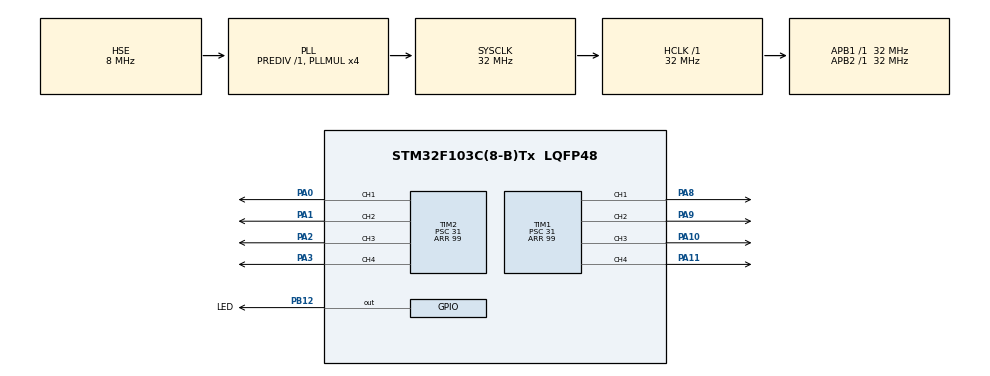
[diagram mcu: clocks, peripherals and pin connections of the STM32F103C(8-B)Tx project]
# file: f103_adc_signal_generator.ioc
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Mcu.Family=STM32F1
Mcu.Name=STM32F103C(8-B)Tx
Mcu.Package=LQFP48
NVIC.PriorityGroup=NVIC_PRIORITYGROUP_4
PA0-WKUP.Signal=S_TIM2_CH1_ETR
PA1.Signal=S_TIM2_CH2
PA10.Signal=S_TIM1_CH3
PA11.Signal=S_TIM1_CH4
PA13.Mode=Serial_Wire
PA13.Signal=SYS_JTMS-SWDIO
PA14.Mode=Serial_Wire
PA14.Signal=SYS_JTCK-SWCLK
PA2.Signal=S_TIM2_CH3
PA3.Signal=S_TIM2_CH4
PA8.Signal=S_TIM1_CH1
PA9.Signal=S_TIM1_CH2
PB12.GPIO_Label=LED
PB12.Signal=GPIO_Output
PC14-OSC32_IN.Mode=LSE-External-Oscillator
PC14-OSC32_IN.Signal=RCC_OSC32_IN
PC15-OSC32_OUT.Mode=LSE-External-Oscillator
PC15-OSC32_OUT.Signal=RCC_OSC32_OUT
PD0-OSC_IN.Mode=HSE-External-Oscillator
PD0-OSC_IN.Signal=RCC_OSC_IN
PD1-OSC_OUT.Mode=HSE-External-Oscillator
PD1-OSC_OUT.Signal=RCC_OSC_OUT
ProjectManager.HeapSize=0x200
ProjectManager.StackSize=0x400
ProjectManager.TargetToolchain=STM32CubeIDE
RCC.AHBFreq_Value=32000000
RCC.APB1Freq_Value=32000000
RCC.APB1TimFreq_Value=32000000
RCC.APB2Freq_Value=32000000
RCC.APB2TimFreq_Value=32000000
RCC.HCLKFreq_Value=32000000
RCC.PLLMUL=RCC_PLL_MUL4
RCC.PLLSourceVirtual=RCC_PLLSOURCE_HSE
RCC.SYSCLKFreq_VALUE=32000000
RCC.SYSCLKSource=RCC_SYSCLKSOURCE_PLLCLK
RCC.USBFreq_Value=32000000
SH.S_TIM1_CH1.0=TIM1_CH1,PWM Generation1 CH1
SH.S_TIM1_CH2.0=TIM1_CH2,PWM Generation2 CH2
SH.S_TIM1_CH3.0=TIM1_CH3,PWM Generation3 CH3
SH.S_TIM1_CH4.0=TIM1_CH4,PWM Generation4 CH4
SH.S_TIM2_CH1_ETR.0=TIM2_CH1,PWM Generation1 CH1
SH.S_TIM2_CH2.0=TIM2_CH2,PWM Generation2 CH2
SH.S_TIM2_CH3.0=TIM2_CH3,PWM Generation3 CH3
SH.S_TIM2_CH4.0=TIM2_CH4,PWM Generation4 CH4
TIM1.AutoReloadPreload=TIM_AUTORELOAD_PRELOAD_ENABLE
TIM1.Channel-PWM\ Generation1\ CH1=TIM_CHANNEL_1
TIM1.Channel-PWM\ Generation2\ CH2=TIM_CHANNEL_2
TIM1.Channel-PWM\ Generation3\ CH3=TIM_CHANNEL_3
TIM1.Channel-PWM\ Generation4\ CH4=TIM_CHANNEL_4
TIM1.Period=99
TIM1.Prescaler=31
TIM2.AutoReloadPreload=TIM_AUTORELOAD_PRELOAD_ENABLE
TIM2.Channel-PWM\ Generation1\ CH1=TIM_CHANNEL_1
TIM2.Channel-PWM\ Generation2\ CH2=TIM_CHANNEL_2
TIM2.Channel-PWM\ Generation3\ CH3=TIM_CHANNEL_3
TIM2.Channel-PWM\ Generation4\ CH4=TIM_CHANNEL_4
TIM2.Period=99
TIM2.Prescaler=31
VP_TIM1_VS_ClockSourceINT.Mode=Internal
VP_TIM2_VS_ClockSourceINT.Mode=Internal
board=custom

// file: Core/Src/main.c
/* USER CODE BEGIN Header */
/**
  ******************************************************************************
  * @file           : main.c
  * @brief          : Main program body
  ******************************************************************************
  * @attention
  *
  * Copyright (c) 2023 STMicroelectronics.
  * All rights reserved.
  *
  * This software is licensed under terms that can be found in the LICENSE file
  * in the root directory of this software component.
  * If no LICENSE file comes with this software, it is provided AS-IS.
  *
  ******************************************************************************
  */
/* USER CODE END Header */
#include "main.h"

TIM_HandleTypeDef htim1;
TIM_HandleTypeDef htim2;

void SystemClock_Config(void);
static void MX_GPIO_Init(void);
static void MX_TIM1_Init(void);
static void MX_TIM2_Init(void);

int main(void)
{

  /* MCU Configuration--------------------------------------------------------*/

  /* Reset of all peripherals, Initializes the Flash interface and the Systick. */
  HAL_Init();

  /* Configure the system clock */
  SystemClock_Config();

  /* Initialize all configured peripherals */
  MX_GPIO_Init();
  MX_TIM1_Init();
  MX_TIM2_Init();
  /* USER CODE BEGIN 2 */

  TIM1->CCR1=1;
  TIM1->CCR2=12;
  TIM1->CCR3=25;
  TIM1->CCR4=37;

  TIM2->CCR1=50;
	TIM2->CCR2=62;
	TIM2->CCR3=75;
	TIM2->CCR4=87;

  HAL_TIM_PWM_Start(&htim1, TIM_CHANNEL_1);
  HAL_TIM_PWM_Start(&htim1, TIM_CHANNEL_2);
  HAL_TIM_PWM_Start(&htim1, TIM_CHANNEL_3);
  HAL_TIM_PWM_Start(&htim1, TIM_CHANNEL_4);

  HAL_TIM_PWM_Start(&htim2, TIM_CHANNEL_1);
    HAL_TIM_PWM_Start(&htim2, TIM_CHANNEL_2);
    HAL_TIM_PWM_Start(&htim2, TIM_CHANNEL_3);
    HAL_TIM_PWM_Start(&htim2, TIM_CHANNEL_4);

  /* USER CODE END 2 */

  /* Infinite loop */
  /* USER CODE BEGIN WHILE */
  while (1)
  {
	  HAL_GPIO_TogglePin(LED_GPIO_Port, LED_Pin);
	  HAL_Delay(500);
    /* USER CODE END WHILE */

  }
}

void SystemClock_Config(void)
{
  RCC_OscInitTypeDef RCC_OscInitStruct = {0};
  RCC_ClkInitTypeDef RCC_ClkInitStruct = {0};

  /** Initializes the RCC Oscillators according to the specified parameters
  * in the RCC_OscInitTypeDef structure.
  */
  RCC_OscInitStruct.OscillatorType = RCC_OSCILLATORTYPE_HSE;
  RCC_OscInitStruct.HSEState = RCC_HSE_ON;
  RCC_OscInitStruct.HSEPredivValue = RCC_HSE_PREDIV_DIV1;
  RCC_OscInitStruct.HSIState = RCC_HSI_ON;
  RCC_OscInitStruct.PLL.PLLState = RCC_PLL_ON;
  RCC_OscInitStruct.PLL.PLLSource = RCC_PLLSOURCE_HSE;
  RCC_OscInitStruct.PLL.PLLMUL = RCC_PLL_MUL4;
  if (HAL_RCC_OscConfig(&RCC_OscInitStruct) != HAL_OK)
  {
    Error_Handler();
  }

  /** Initializes the CPU, AHB and APB buses clocks
  */
  RCC_ClkInitStruct.ClockType = RCC_CLOCKTYPE_HCLK|RCC_CLOCKTYPE_SYSCLK
                              |RCC_CLOCKTYPE_PCLK1|RCC_CLOCKTYPE_PCLK2;
  RCC_ClkInitStruct.SYSCLKSource = RCC_SYSCLKSOURCE_PLLCLK;
  RCC_ClkInitStruct.AHBCLKDivider = RCC_SYSCLK_DIV1;
  RCC_ClkInitStruct.APB1CLKDivider = RCC_HCLK_DIV1;
  RCC_ClkInitStruct.APB2CLKDivider = RCC_HCLK_DIV1;

  if (HAL_RCC_ClockConfig(&RCC_ClkInitStruct, FLASH_LATENCY_1) != HAL_OK)
  {
    Error_Handler();
  }
}

static void MX_TIM1_Init(void)
{

  TIM_ClockConfigTypeDef sClockSourceConfig = {0};
  TIM_MasterConfigTypeDef sMasterConfig = {0};
  TIM_OC_InitTypeDef sConfigOC = {0};
  TIM_BreakDeadTimeConfigTypeDef sBreakDeadTimeConfig = {0};

  htim1.Instance = TIM1;
  htim1.Init.Prescaler = 31;
  htim1.Init.CounterMode = TIM_COUNTERMODE_UP;
  htim1.Init.Period = 99;
  htim1.Init.ClockDivision = TIM_CLOCKDIVISION_DIV1;
  htim1.Init.RepetitionCounter = 0;
  htim1.Init.AutoReloadPreload = TIM_AUTORELOAD_PRELOAD_ENABLE;
  if (HAL_TIM_Base_Init(&htim1) != HAL_OK)
  {
    Error_Handler();
  }
  sClockSourceConfig.ClockSource = TIM_CLOCKSOURCE_INTERNAL;
  if (HAL_TIM_ConfigClockSource(&htim1, &sClockSourceConfig) != HAL_OK)
  {
    Error_Handler();
  }
  if (HAL_TIM_PWM_Init(&htim1) != HAL_OK)
  {
    Error_Handler();
  }
  sMasterConfig.MasterOutputTrigger = TIM_TRGO_RESET;
  sMasterConfig.MasterSlaveMode = TIM_MASTERSLAVEMODE_DISABLE;
  if (HAL_TIMEx_MasterConfigSynchronization(&htim1, &sMasterConfig) != HAL_OK)
  {
    Error_Handler();
  }
  sConfigOC.OCMode = TIM_OCMODE_PWM1;
  sConfigOC.Pulse = 0;
  sConfigOC.OCPolarity = TIM_OCPOLARITY_HIGH;
  sConfigOC.OCNPolarity = TIM_OCNPOLARITY_HIGH;
  sConfigOC.OCFastMode = TIM_OCFAST_DISABLE;
  sConfigOC.OCIdleState = TIM_OCIDLESTATE_RESET;
  sConfigOC.OCNIdleState = TIM_OCNIDLESTATE_RESET;
  if (HAL_TIM_PWM_ConfigChannel(&htim1, &sConfigOC, TIM_CHANNEL_1) != HAL_OK)
  {
    Error_Handler();
  }
  if (HAL_TIM_PWM_ConfigChannel(&htim1, &sConfigOC, TIM_CHANNEL_2) != HAL_OK)
  {
    Error_Handler();
  }
  if (HAL_TIM_PWM_ConfigChannel(&htim1, &sConfigOC, TIM_CHANNEL_3) != HAL_OK)
  {
    Error_Handler();
  }
  if (HAL_TIM_PWM_ConfigChannel(&htim1, &sConfigOC, TIM_CHANNEL_4) != HAL_OK)
  {
    Error_Handler();
  }
  sBreakDeadTimeConfig.OffStateRunMode = TIM_OSSR_DISABLE;
  sBreakDeadTimeConfig.OffStateIDLEMode = TIM_OSSI_DISABLE;
  sBreakDeadTimeConfig.LockLevel = TIM_LOCKLEVEL_OFF;
  sBreakDeadTimeConfig.DeadTime = 0;
  sBreakDeadTimeConfig.BreakState = TIM_BREAK_DISABLE;
  sBreakDeadTimeConfig.BreakPolarity = TIM_BREAKPOLARITY_HIGH;
  sBreakDeadTimeConfig.AutomaticOutput = TIM_AUTOMATICOUTPUT_DISABLE;
  if (HAL_TIMEx_ConfigBreakDeadTime(&htim1, &sBreakDeadTimeConfig) != HAL_OK)
  {
    Error_Handler();
  }
  HAL_TIM_MspPostInit(&htim1);

}

static void MX_TIM2_Init(void)
{

  TIM_ClockConfigTypeDef sClockSourceConfig = {0};
  TIM_MasterConfigTypeDef sMasterConfig = {0};
  TIM_OC_InitTypeDef sConfigOC = {0};

  htim2.Instance = TIM2;
  htim2.Init.Prescaler = 31;
  htim2.Init.CounterMode = TIM_COUNTERMODE_UP;
  htim2.Init.Period = 99;
  htim2.Init.ClockDivision = TIM_CLOCKDIVISION_DIV1;
  htim2.Init.AutoReloadPreload = TIM_AUTORELOAD_PRELOAD_ENABLE;
  if (HAL_TIM_Base_Init(&htim2) != HAL_OK)
  {
    Error_Handler();
  }
  sClockSourceConfig.ClockSource = TIM_CLOCKSOURCE_INTERNAL;
  if (HAL_TIM_ConfigClockSource(&htim2, &sClockSourceConfig) != HAL_OK)
  {
    Error_Handler();
  }
  if (HAL_TIM_PWM_Init(&htim2) != HAL_OK)
  {
    Error_Handler();
  }
  sMasterConfig.MasterOutputTrigger = TIM_TRGO_RESET;
  sMasterConfig.MasterSlaveMode = TIM_MASTERSLAVEMODE_DISABLE;
  if (HAL_TIMEx_MasterConfigSynchronization(&htim2, &sMasterConfig) != HAL_OK)
  {
    Error_Handler();
  }
  sConfigOC.OCMode = TIM_OCMODE_PWM1;
  sConfigOC.Pulse = 0;
  sConfigOC.OCPolarity = TIM_OCPOLARITY_HIGH;
  sConfigOC.OCFastMode = TIM_OCFAST_DISABLE;
  if (HAL_TIM_PWM_ConfigChannel(&htim2, &sConfigOC, TIM_CHANNEL_1) != HAL_OK)
  {
    Error_Handler();
  }
  if (HAL_TIM_PWM_ConfigChannel(&htim2, &sConfigOC, TIM_CHANNEL_2) != HAL_OK)
  {
    Error_Handler();
  }
  if (HAL_TIM_PWM_ConfigChannel(&htim2, &sConfigOC, TIM_CHANNEL_3) != HAL_OK)
  {
    Error_Handler();
  }
  if (HAL_TIM_PWM_ConfigChannel(&htim2, &sConfigOC, TIM_CHANNEL_4) != HAL_OK)
  {
    Error_Handler();
  }
  HAL_TIM_MspPostInit(&htim2);

}

static void MX_GPIO_Init(void)
{
  GPIO_InitTypeDef GPIO_InitStruct = {0};

  /* GPIO Ports Clock Enable */
  __HAL_RCC_GPIOC_CLK_ENABLE();
  __HAL_RCC_GPIOD_CLK_ENABLE();
  __HAL_RCC_GPIOA_CLK_ENABLE();
  __HAL_RCC_GPIOB_CLK_ENABLE();

  /*Configure GPIO pin Output Level */
  HAL_GPIO_WritePin(LED_GPIO_Port, LED_Pin, GPIO_PIN_RESET);

  /*Configure GPIO pin : LED_Pin */
  GPIO_InitStruct.Pin = LED_Pin;
  GPIO_InitStruct.Mode = GPIO_MODE_OUTPUT_PP;
  GPIO_InitStruct.Pull = GPIO_NOPULL;
  GPIO_InitStruct.Speed = GPIO_SPEED_FREQ_LOW;
  HAL_GPIO_Init(LED_GPIO_Port, &GPIO_InitStruct);

}

void Error_Handler(void)
{
  __disable_irq();
  while (1)
  {
  }
}
